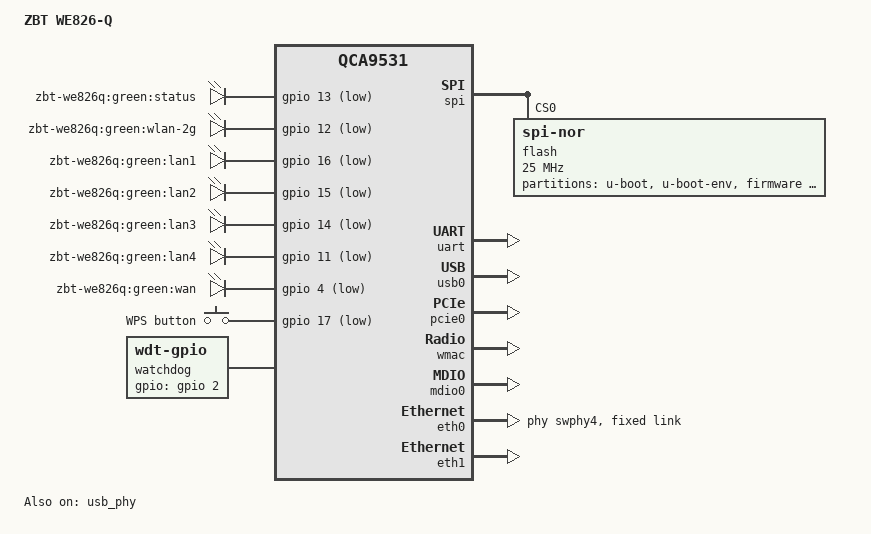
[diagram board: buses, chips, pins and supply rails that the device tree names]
// SPDX-License-Identifier: GPL-2.0-or-later
/dts-v1/;

#include <dt-bindings/gpio/gpio.h>
#include <dt-bindings/input/input.h>

#include "qca953x.dtsi"

/ {
	compatible = "zbtlink,zbt-we826q", "qca,qca9531";
	model = "ZBT WE826-Q";

	aliases {
		label-mac-device = &wmac;
	};

	leds {
		compatible = "gpio-leds";

		status {
			label = "zbt-we826q:green:status";
			gpios = <&gpio 13 GPIO_ACTIVE_LOW>;
		};

		wlan2g {
			label = "zbt-we826q:green:wlan-2g";
			gpios = <&gpio 12 GPIO_ACTIVE_LOW>;
		};

		lan1 {
			label = "zbt-we826q:green:lan1";
			gpios = <&gpio 16 GPIO_ACTIVE_LOW>;
		};

		lan2 {
			label = "zbt-we826q:green:lan2";
			gpios = <&gpio 15 GPIO_ACTIVE_LOW>;
		};

		lan3 {
			label = "zbt-we826q:green:lan3";
			gpios = <&gpio 14 GPIO_ACTIVE_LOW>;
		};

		lan4 {
			label = "zbt-we826q:green:lan4";
			gpios = <&gpio 11 GPIO_ACTIVE_LOW>;
		};

		wan {
			label = "zbt-we826q:green:wan";
			gpios = <&gpio 4 GPIO_ACTIVE_LOW>;
		};
	};

	keys {
		compatible = "gpio-keys";

		wps {
			label = "WPS button";
			linux,code = <KEY_WPS_BUTTON>;
			gpios = <&gpio 17 GPIO_ACTIVE_LOW>;
			debounce-interval = <60>;
		};
	};

	watchdog {
		compatible = "linux,wdt-gpio";

		gpios = <&gpio 2 GPIO_ACTIVE_HIGH>;
		hw_algo = "toggle";
		hw_margin_ms = <1200>;
		always-running;
	};
};

&spi {
	status = "okay";

	num-cs = <1>;

	flash@0 {
		compatible = "jedec,spi-nor";
		reg = <0>;
		spi-max-frequency = <25000000>;

		partitions {
			compatible = "fixed-partitions";
			#address-cells = <1>;
			#size-cells = <1>;

			uboot: partition@0 {
				label = "u-boot";
				reg = <0x000000 0x040000>;
				read-only;
			};

			partition@40000 {
				label = "u-boot-env";
				reg = <0x040000 0x010000>;
			};

			partition@50000 {
				label = "firmware";
				reg = <0x050000 0xfa0000>;
				compatible = "fixed-partitions";
				#address-cells = <1>;
				#size-cells = <1>;

				partition@0 {
					label = "rootfs";
					reg = <0x050000 0xe30000>;
				};

				partition@e80000 {
					label = "kernel";
					reg = <0xe80000 0x170000>;
				};
			};

			art: partition@ff0000 {
				label = "art";
				reg = <0xff0000 0x010000>;
				read-only;
			};
		};
	};
};

&uart {
	status = "okay";
};

&usb0 {
	#address-cells = <1>;
	#size-cells = <0>;
	status = "okay";

	hub_port: port@1 {
		reg = <1>;
		#trigger-source-cells = <0>;
	};
};

&usb_phy {
	status = "okay";
};

&pcie0 {
	status = "okay";
};

&wmac {
	status = "okay";

	mtd-cal-data = <&art 0x1000>;
};

&mdio0 {
	status = "okay";
};

/* WAN */
&eth0 {
	status = "okay";

	phy-handle = <&swphy4>;

	mtd-mac-address = <&art 0x0>;
	mtd-mac-address-increment = <1>;

	fixed-link {
		speed = <100>;
		full-duplex;
	};
};

/* LAN */
&eth1 {
	status = "okay";

	mtd-mac-address = <&art 0x0>;
};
